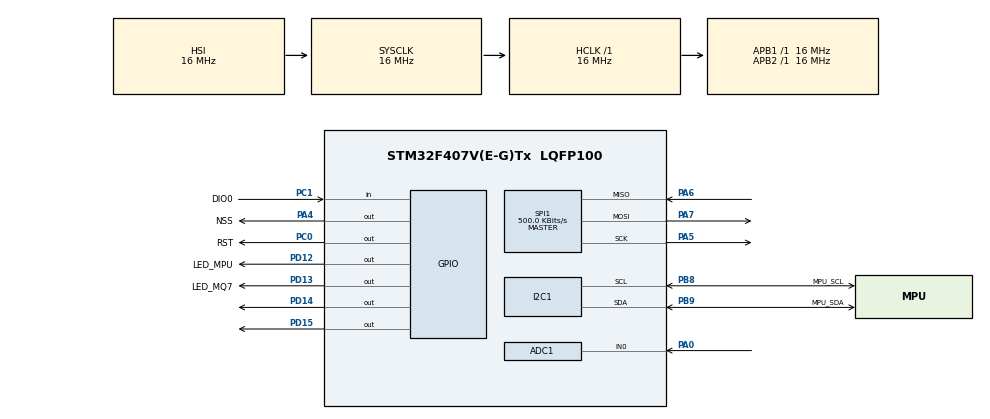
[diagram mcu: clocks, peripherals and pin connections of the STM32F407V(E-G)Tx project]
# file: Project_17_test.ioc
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ADC1.Channel-0\#ChannelRegularConversion=ADC_CHANNEL_0
ADC1.NbrOfConversionFlag=1
ADC1.Rank-0\#ChannelRegularConversion=1
ADC1.SamplingTime-0\#ChannelRegularConversion=ADC_SAMPLETIME_3CYCLES
ADC1.master=1
Mcu.Family=STM32F4
Mcu.Name=STM32F407V(E-G)Tx
Mcu.Package=LQFP100
NVIC.PriorityGroup=NVIC_PRIORITYGROUP_4
PA0-WKUP.Signal=ADCx_IN0
PA4.GPIO_Label=NSS
PA4.PinState=GPIO_PIN_SET
PA4.Signal=GPIO_Output
PA5.Mode=Full_Duplex_Master
PA5.Signal=SPI1_SCK
PA6.Mode=Full_Duplex_Master
PA6.Signal=SPI1_MISO
PA7.Mode=Full_Duplex_Master
PA7.Signal=SPI1_MOSI
PB8.GPIO_Label=MPU_SCL
PB8.Mode=I2C
PB8.Signal=I2C1_SCL
PB9.GPIO_Label=MPU_SDA
PB9.Mode=I2C
PB9.Signal=I2C1_SDA
PC0.GPIO_Label=RST
PC0.PinState=GPIO_PIN_SET
PC0.Signal=GPIO_Output
PC1.GPIO_Label=DIO0
PC1.Signal=GPIO_Input
PD12.GPIO_Label=LED_MPU
PD12.Signal=GPIO_Output
PD13.GPIO_Label=LED_MQ7
PD13.Signal=GPIO_Output
PD14.Signal=GPIO_Output
PD15.Signal=GPIO_Output
ProjectManager.HeapSize=0x200
ProjectManager.StackSize=0x400
ProjectManager.TargetToolchain=STM32CubeIDE
RCC.AHBFreq_Value=16000000
RCC.APB1Freq_Value=16000000
RCC.APB2Freq_Value=16000000
RCC.CortexFreq_Value=16000000
RCC.HSE_VALUE=25000000
RCC.HSI_VALUE=16000000
RCC.LSE_VALUE=32768
RCC.SYSCLKFreq_VALUE=16000000
RCC.VCOOutputFreq_Value=192000000
SH.ADCx_IN0.0=ADC1_IN0,IN0
SPI1.BaudRatePrescaler=SPI_BAUDRATEPRESCALER_32
SPI1.CalculateBaudRate=500.0 KBits/s
SPI1.Direction=SPI_DIRECTION_2LINES
SPI1.Mode=SPI_MODE_MASTER
SPI1.VirtualType=VM_MASTER
VP_TIM2_VS_ClockSourceINT.Mode=Internal
board=custom

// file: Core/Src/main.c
/* USER CODE BEGIN Header */
/**
  ******************************************************************************
  * @file           : main.c
  * @brief          : Main program body
  ******************************************************************************
  * @attention
  * <h2><center>&copy; Copyright (c) 2019 STMicroelectronics.</center></h2>
  * This software component is licensed by ST under BSD 3-Clause license,
  * the "License"; You may not use this file except in compliance with the License.
  * You may obtain a copy of the License at:
  *                        opensource.org/licenses/BSD-3-Clause
  ******************************************************************************
  */
/* USER CODE END Header */
#include "main.h"

/* USER CODE BEGIN Includes */
#include "lora.h"
#include "TJ_MPU6050.h"
#include <stdio.h>
#include <string.h>
#include "core_cm4.h"  // For CoreDebug and ITM registers
#include <math.h>
#include "stm32f4xx_hal.h"
#define MPU6050_ADDRESS 0x68
#define MPU6050_WHO_AM_I 0x75
/* USER CODE END Includes */

/* USER CODE BEGIN PD */
#define MQ7_ADC_PIN          GPIO_PIN_0     // e.g., PA0 for ADC1
#define MQ7_ADC_PORT         GPIOA
#define MQ7_ADC_HANDLE       hadc1          // Your ADC handle
#define PWM_TIM_HANDLE       htim2          // e.g., TIM2 for PWM
#define PWM_TIM_CHANNEL      TIM_CHANNEL_1  // e.g., PA5 for TIM2_CH1
#define RL                   5.0f      // Load resistor (in ohms)

#define HIGH_HEAT_DURATION   60000  // 60s @ 5V
#define LOW_HEAT_DURATION    90000  // 90s @ 1.4V
#define RATIO_CLEAN_AIR      27.5f   // From datasheet
/* USER CODE END PD */

ADC_HandleTypeDef hadc1;

I2C_HandleTypeDef hi2c1;

SPI_HandleTypeDef hspi1;

TIM_HandleTypeDef htim2;

/* USER CODE BEGIN PV */
LoRa myLoRa;
uint16_t Lora_stat=0;
uint8_t RxBuffer[128];
RawData_Def myAccelRaw;
ScaledData_Def myAccelScaled;
MPU_ConfigTypeDef myMpuConfig;
char swv_buffer[128];
char msg[64];
/* USER CODE END PV */

void SystemClock_Config(void);
static void MX_GPIO_Init(void);
static void MX_I2C1_Init(void);
static void MX_ADC1_Init(void);
static void MX_TIM2_Init(void);
static void MX_SPI1_Init(void);
/* USER CODE BEGIN PFP */
uint8_t MPU6050_TestConnection(void);
void MQ7_Calibrate();
float MQ7_ReadPPM(float Rs_R0);

/* USER CODE END PFP */

/* USER CODE BEGIN 0 */
uint8_t fall_alert_flag = 0;
float latest_acc_magnitude = 0.0f;
float latest_ppm = 0.0f;

uint32_t last_lora_update = 0;
const uint32_t LORA_SEND_INTERVAL = 3000; // Send every 3s

uint32_t last_mpu_update = 0;
uint32_t last_mq7_update = 0;

uint32_t mq7_phase_start = 0;
uint8_t mq7_heating_phase = 1; // 1 = HIGH, 0 = LOW

const uint32_t MQ7_HIGH_HEAT_DURATION = 60000;
const uint32_t MQ7_LOW_HEAT_DURATION = 90000;

float MQ7_R0 = 10.0f; // calibrated in clean air
float MQ7_ReadPPM(float voltage) {
    float Rs = (5.0f - voltage) / voltage * RL;  // Compute sensor resistance
    float ratio = Rs / MQ7_R0;
    return 99.042f * powf(ratio, -1.518f);  // PPM = a*(Rs/Ro)^b (datasheet curve)
}

// SWV ITM Printf Redirection
int __io_putchar(int ch) {
    ITM_SendChar(ch);
    return ch;
}
/* USER CODE END 0 */

int main(void)
{

  /* MCU Configuration--------------------------------------------------------*/

  /* Reset of all peripherals, Initializes the Flash interface and the Systick. */
  HAL_Init();

  /* Configure the system clock */
  SystemClock_Config();

  /* Initialize all configured peripherals */
  MX_GPIO_Init();
  MX_I2C1_Init();
  MX_ADC1_Init();
  MX_TIM2_Init();
  MX_SPI1_Init();
  /* USER CODE BEGIN 2 */
// Lora part

	 myLoRa = newLoRa();

	 myLoRa.CS_port         = NSS_GPIO_Port;
	 myLoRa.CS_pin          = NSS_Pin;
	 myLoRa.reset_port      = RST_GPIO_Port;
	 myLoRa.reset_pin       = RST_Pin;
	 myLoRa.DIO0_port       = DIO0_GPIO_Port;
	 myLoRa.DIO0_pin        = DIO0_Pin;
	 myLoRa.hSPIx           = &hspi1;

	 myLoRa.frequency             = 433;             // default = 433 MHz
	 myLoRa.spredingFactor        = SF_7;            // default = SF_7
	 myLoRa.bandWidth = BW_125KHz; // pour correspondre à 125E3 sur Arduino	 myLoRa.crcRate               = CR_4_5;          // default = CR_4_5
	 myLoRa.power                 = POWER_17db;      // default = 20db
	 myLoRa.overCurrentProtection = 125;             // default = 100 mA
	 myLoRa.preamble              = 9;              // default = 8;
	 myLoRa.syncWord              = 0x34;         // à ajouter si supporté
	 myLoRa.crcRate = CR_4_5;          // Coding Rate 4/5

	 if (LoRa_init(&myLoRa)==LORA_OK) {
	     Lora_stat=1;
	     HAL_GPIO_WritePin(GPIOD, GPIO_PIN_12, GPIO_PIN_SET);
	     printf("LoRa initialized!\r\n");
	     // Add version check here:
	     uint8_t version = LoRa_read(&myLoRa, RegVersion);
	     printf("LoRa Version: 0x%02X\n", version);  // Should be 0x12
	     if (version != 0x12) {
	         printf("LoRa Failed!!!\r\n");
	         Error_Handler();
	     } else {
	         printf("LoRa Version OK\r\n");
	     }

	 }

//MPU6050 Part
  // Initialize MPU6050
  MPU6050_Init(&hi2c1);

  // Test connection
  if(MPU6050_TestConnection() != HAL_OK) {
    printf("MPU6050   Connection Failed!\r\n");
    Error_Handler();
  }

  // Configure MPU6050
  myMpuConfig.Accel_Full_Scale = AFS_SEL_4g;
  myMpuConfig.ClockSource = Internal_8MHz;
  myMpuConfig.CONFIG_DLPF = DLPF_184A_188G_Hz;
  myMpuConfig.Sleep_Mode_Bit = 0;
  MPU6050_Config(&myMpuConfig);

  printf("MPU6050 Initialized Successfully!\r\n");
  HAL_GPIO_WritePin(GPIOD, GPIO_PIN_13, GPIO_PIN_SET);
  HAL_Delay(500);
  HAL_GPIO_WritePin(GPIOD, GPIO_PIN_13, GPIO_PIN_RESET);

// MQ-7 part

  HAL_ADC_Start(&hadc1); // or whatever ADC you're using
  HAL_ADC_PollForConversion(&hadc1, HAL_MAX_DELAY);
  HAL_TIM_PWM_Start(&htim2, TIM_CHANNEL_1);  // Start TIM2 Channel 1 PWM

  printf("System Initialized\r\n");  // Test message
  printf("MQ-7 Sensor Monitoring Started\r\n");

  /* USER CODE END 2 */

  /* Infinite loop */
  /* USER CODE BEGIN WHILE */
  while (1)
  {
	  uint32_t now = HAL_GetTick();

	      // === MPU6050 Handling ===
	      if (now - last_mpu_update >= 1000)
	      {
	          last_mpu_update = now;

	          MPU6050_Get_Accel_Scale(&myAccelScaled);

	          float acc_x = myAccelScaled.x;
	          float acc_y = myAccelScaled.y;
	          float acc_z = myAccelScaled.z;

	          latest_acc_magnitude = sqrtf(acc_x * acc_x + acc_y * acc_y + acc_z * acc_z);
	          printf("acc_magnitude = %.2f\r\n", latest_acc_magnitude);

	          static uint8_t free_fall_detected = 0;
	          static uint8_t impact_detected = 0;

	          if (latest_acc_magnitude < 1200.0f) {
	              free_fall_detected = 1;
	          }
	          if (latest_acc_magnitude > 1500.0f) {
	              impact_detected = 1;
	          }

	          if (free_fall_detected && impact_detected) {
	              printf("⚠  FALL DETECTED!\r\n");

	              free_fall_detected = 0;
	              impact_detected = 0;
	              fall_alert_flag = 1; // Flag for LoRa
	          }

	          snprintf(swv_buffer, sizeof(swv_buffer),
	                   "Accel: X=%7.2f Y=%7.2f Z=%7.2f\r\n"
	                   "--------------------------------\r\n",
	                   acc_x, acc_y, acc_z);
	          printf("%s", swv_buffer);

	          HAL_GPIO_TogglePin(GPIOD, GPIO_PIN_13); // Activity LED
	      }

	      // === MQ7 Sensor Handling ===
	      if (now - last_mq7_update >= 1000)
	      {
	          last_mq7_update = now;

	          HAL_ADC_Start(&MQ7_ADC_HANDLE);
	          HAL_ADC_PollForConversion(&MQ7_ADC_HANDLE, HAL_MAX_DELAY);
	          uint32_t adcValue = HAL_ADC_GetValue(&MQ7_ADC_HANDLE);
	          float voltage = adcValue * 3.3f / 4095.0f;
	          latest_ppm = MQ7_ReadPPM(voltage);

	          printf("ADC: %lu | Voltage: %.2f V | CO: %.2f PPM\r\n", adcValue, voltage, latest_ppm);
	      }

	      // === MQ7 Heater Control ===
	      if (mq7_heating_phase && (now - mq7_phase_start >= MQ7_HIGH_HEAT_DURATION))
	      {
	          mq7_phase_start = now;
	          mq7_heating_phase = 0;
	          __HAL_TIM_SET_COMPARE(&htim2, TIM_CHANNEL_1, 70);  // Simulate 1.4V phase
	      }
	      else if (!mq7_heating_phase && (now - mq7_phase_start >= MQ7_LOW_HEAT_DURATION))
	      {
	          mq7_phase_start = now;
	          mq7_heating_phase = 1;
	          __HAL_TIM_SET_COMPARE(&htim2, TIM_CHANNEL_1, 255); // Simulate 5V phase
	      }

	      // === LoRa Transmission only when needed ===
	      if (fall_alert_flag || latest_ppm > 10.0f)
	      {
	          LoRa_gotoMode(&myLoRa, STNBY_MODE);
	          HAL_Delay(50);

	          char lora_message[100];
	          snprintf(lora_message, sizeof(lora_message),
	                   "{ \"fall\":%d, \"co\":%.2f, \"acc\":%.2f }",
	                   fall_alert_flag, latest_ppm, latest_acc_magnitude);

	          printf("Sending LoRa: %s\r\n", lora_message);

	          if (LoRa_transmit(&myLoRa, (uint8_t*)lora_message, strlen(lora_message), 2000))
	          {
	              printf("LoRa transmission OK\r\n");
	              HAL_GPIO_WritePin(GPIOD, GPIO_PIN_14, GPIO_PIN_SET); // LED feedback
	          }

	          fall_alert_flag = 0; // Reset flag
	          HAL_Delay(3000); // Optional: delay to avoid flooding
	      }
  }
  /* USER CODE END 3 */
}

void SystemClock_Config(void)
{
  RCC_OscInitTypeDef RCC_OscInitStruct = {0};
  RCC_ClkInitTypeDef RCC_ClkInitStruct = {0};

  /** Configure the main internal regulator output voltage
  */
  __HAL_RCC_PWR_CLK_ENABLE();
  __HAL_PWR_VOLTAGESCALING_CONFIG(PWR_REGULATOR_VOLTAGE_SCALE1);

  /** Initializes the RCC Oscillators according to the specified parameters
  * in the RCC_OscInitTypeDef structure.
  */
  RCC_OscInitStruct.OscillatorType = RCC_OSCILLATORTYPE_HSI;
  RCC_OscInitStruct.HSIState = RCC_HSI_ON;
  RCC_OscInitStruct.HSICalibrationValue = RCC_HSICALIBRATION_DEFAULT;
  RCC_OscInitStruct.PLL.PLLState = RCC_PLL_NONE;
  if (HAL_RCC_OscConfig(&RCC_OscInitStruct) != HAL_OK)
  {
    Error_Handler();
  }

  /** Initializes the CPU, AHB and APB buses clocks
  */
  RCC_ClkInitStruct.ClockType = RCC_CLOCKTYPE_HCLK|RCC_CLOCKTYPE_SYSCLK
                              |RCC_CLOCKTYPE_PCLK1|RCC_CLOCKTYPE_PCLK2;
  RCC_ClkInitStruct.SYSCLKSource = RCC_SYSCLKSOURCE_HSI;
  RCC_ClkInitStruct.AHBCLKDivider = RCC_SYSCLK_DIV1;
  RCC_ClkInitStruct.APB1CLKDivider = RCC_HCLK_DIV1;
  RCC_ClkInitStruct.APB2CLKDivider = RCC_HCLK_DIV1;

  if (HAL_RCC_ClockConfig(&RCC_ClkInitStruct, FLASH_LATENCY_0) != HAL_OK)
  {
    Error_Handler();
  }
}

static void MX_ADC1_Init(void)
{

  ADC_ChannelConfTypeDef sConfig = {0};

  /** Configure the global features of the ADC (Clock, Resolution, Data Alignment and number of conversion)
  */
  hadc1.Instance = ADC1;
  hadc1.Init.ClockPrescaler = ADC_CLOCK_SYNC_PCLK_DIV2;
  hadc1.Init.Resolution = ADC_RESOLUTION_12B;
  hadc1.Init.ScanConvMode = DISABLE;
  hadc1.Init.ContinuousConvMode = DISABLE;
  hadc1.Init.DiscontinuousConvMode = DISABLE;
  hadc1.Init.ExternalTrigConvEdge = ADC_EXTERNALTRIGCONVEDGE_NONE;
  hadc1.Init.ExternalTrigConv = ADC_SOFTWARE_START;
  hadc1.Init.DataAlign = ADC_DATAALIGN_RIGHT;
  hadc1.Init.NbrOfConversion = 1;
  hadc1.Init.DMAContinuousRequests = DISABLE;
  hadc1.Init.EOCSelection = ADC_EOC_SINGLE_CONV;
  if (HAL_ADC_Init(&hadc1) != HAL_OK)
  {
    Error_Handler();
  }

  /** Configure for the selected ADC regular channel its corresponding rank in the sequencer and its sample time.
  */
  sConfig.Channel = ADC_CHANNEL_0;
  sConfig.Rank = 1;
  sConfig.SamplingTime = ADC_SAMPLETIME_3CYCLES;
  if (HAL_ADC_ConfigChannel(&hadc1, &sConfig) != HAL_OK)
  {
    Error_Handler();
  }

}

static void MX_I2C1_Init(void)
{

  hi2c1.Instance = I2C1;
  hi2c1.Init.ClockSpeed = 100000;
  hi2c1.Init.DutyCycle = I2C_DUTYCYCLE_2;
  hi2c1.Init.OwnAddress1 = 0;
  hi2c1.Init.AddressingMode = I2C_ADDRESSINGMODE_7BIT;
  hi2c1.Init.DualAddressMode = I2C_DUALADDRESS_DISABLE;
  hi2c1.Init.OwnAddress2 = 0;
  hi2c1.Init.GeneralCallMode = I2C_GENERALCALL_DISABLE;
  hi2c1.Init.NoStretchMode = I2C_NOSTRETCH_DISABLE;
  if (HAL_I2C_Init(&hi2c1) != HAL_OK)
  {
    Error_Handler();
  }

}

static void MX_SPI1_Init(void)
{

  /* SPI1 parameter configuration*/
  hspi1.Instance = SPI1;
  hspi1.Init.Mode = SPI_MODE_MASTER;
  hspi1.Init.Direction = SPI_DIRECTION_2LINES;
  hspi1.Init.DataSize = SPI_DATASIZE_8BIT;
  hspi1.Init.CLKPolarity = SPI_POLARITY_LOW;
  hspi1.Init.CLKPhase = SPI_PHASE_1EDGE;
  hspi1.Init.NSS = SPI_NSS_SOFT;
  hspi1.Init.BaudRatePrescaler = SPI_BAUDRATEPRESCALER_32;
  hspi1.Init.FirstBit = SPI_FIRSTBIT_MSB;
  hspi1.Init.TIMode = SPI_TIMODE_DISABLE;
  hspi1.Init.CRCCalculation = SPI_CRCCALCULATION_DISABLE;
  hspi1.Init.CRCPolynomial = 10;
  if (HAL_SPI_Init(&hspi1) != HAL_OK)
  {
    Error_Handler();
  }

}

static void MX_TIM2_Init(void)
{

  TIM_ClockConfigTypeDef sClockSourceConfig = {0};
  TIM_MasterConfigTypeDef sMasterConfig = {0};

  htim2.Instance = TIM2;
  htim2.Init.Prescaler = 0;
  htim2.Init.CounterMode = TIM_COUNTERMODE_UP;
  htim2.Init.Period = 4294967295;
  htim2.Init.ClockDivision = TIM_CLOCKDIVISION_DIV1;
  htim2.Init.AutoReloadPreload = TIM_AUTORELOAD_PRELOAD_DISABLE;
  if (HAL_TIM_Base_Init(&htim2) != HAL_OK)
  {
    Error_Handler();
  }
  sClockSourceConfig.ClockSource = TIM_CLOCKSOURCE_INTERNAL;
  if (HAL_TIM_ConfigClockSource(&htim2, &sClockSourceConfig) != HAL_OK)
  {
    Error_Handler();
  }
  sMasterConfig.MasterOutputTrigger = TIM_TRGO_RESET;
  sMasterConfig.MasterSlaveMode = TIM_MASTERSLAVEMODE_DISABLE;
  if (HAL_TIMEx_MasterConfigSynchronization(&htim2, &sMasterConfig) != HAL_OK)
  {
    Error_Handler();
  }

}

static void MX_GPIO_Init(void)
{
  GPIO_InitTypeDef GPIO_InitStruct = {0};

  /* GPIO Ports Clock Enable */
  __HAL_RCC_GPIOC_CLK_ENABLE();
  __HAL_RCC_GPIOA_CLK_ENABLE();
  __HAL_RCC_GPIOD_CLK_ENABLE();
  __HAL_RCC_GPIOB_CLK_ENABLE();

  /*Configure GPIO pin Output Level */
  HAL_GPIO_WritePin(RST_GPIO_Port, RST_Pin, GPIO_PIN_SET);

  /*Configure GPIO pin Output Level */
  HAL_GPIO_WritePin(NSS_GPIO_Port, NSS_Pin, GPIO_PIN_SET);

  /*Configure GPIO pin Output Level */
  HAL_GPIO_WritePin(GPIOD, LED_MPU_Pin|LED_MQ7_Pin|GPIO_PIN_14|GPIO_PIN_15, GPIO_PIN_RESET);

  /*Configure GPIO pin : RST_Pin */
  GPIO_InitStruct.Pin = RST_Pin;
  GPIO_InitStruct.Mode = GPIO_MODE_OUTPUT_PP;
  GPIO_InitStruct.Pull = GPIO_NOPULL;
  GPIO_InitStruct.Speed = GPIO_SPEED_FREQ_LOW;
  HAL_GPIO_Init(RST_GPIO_Port, &GPIO_InitStruct);

  /*Configure GPIO pin : DIO0_Pin */
  GPIO_InitStruct.Pin = DIO0_Pin;
  GPIO_InitStruct.Mode = GPIO_MODE_INPUT;
  GPIO_InitStruct.Pull = GPIO_NOPULL;
  HAL_GPIO_Init(DIO0_GPIO_Port, &GPIO_InitStruct);

  /*Configure GPIO pin : NSS_Pin */
  GPIO_InitStruct.Pin = NSS_Pin;
  GPIO_InitStruct.Mode = GPIO_MODE_OUTPUT_PP;
  GPIO_InitStruct.Pull = GPIO_NOPULL;
  GPIO_InitStruct.Speed = GPIO_SPEED_FREQ_LOW;
  HAL_GPIO_Init(NSS_GPIO_Port, &GPIO_InitStruct);

  /*Configure GPIO pins : LED_MPU_Pin LED_MQ7_Pin PD14 PD15 */
  GPIO_InitStruct.Pin = LED_MPU_Pin|LED_MQ7_Pin|GPIO_PIN_14|GPIO_PIN_15;
  GPIO_InitStruct.Mode = GPIO_MODE_OUTPUT_PP;
  GPIO_InitStruct.Pull = GPIO_NOPULL;
  GPIO_InitStruct.Speed = GPIO_SPEED_FREQ_LOW;
  HAL_GPIO_Init(GPIOD, &GPIO_InitStruct);

}

/* USER CODE BEGIN 4 */
uint8_t MPU6050_TestConnection(void)
{
  uint8_t who_am_i = 0;
  HAL_StatusTypeDef status = HAL_I2C_Mem_Read(&hi2c1, MPU6050_ADDRESS << 1,
                                             MPU6050_WHO_AM_I, 1, &who_am_i, 1, 100);
  if(status == HAL_OK && who_am_i == 0x68) {
    return HAL_OK;
  }
  return HAL_ERROR;
}

int _write(int file, char *ptr, int len)
{
  (void)file;
  for(int i = 0; i < len; i++) {
    ITM_SendChar(*ptr++);
  }
  return len;
}

/* USER CODE END 4 */

void Error_Handler(void)
{
  __disable_irq();
  while (1)
  {
  }
}
